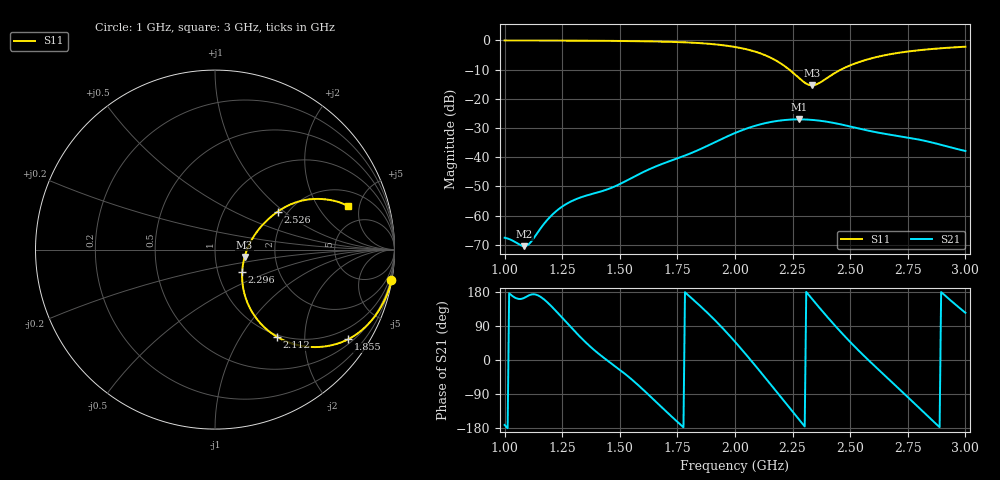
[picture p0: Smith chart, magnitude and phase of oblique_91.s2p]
! TOUCHSTONE file generated by CST MICROWAVE STUDIO
! Date and time: Tue Mar 18 00:01:41 2025
! Project name: oblique.cst
! Parameters = {Tilt=30; Fracture=1; B=12.5; D=160; F=25; Feed=2.85625; L=100; M=10; R=0.384908; S=1; Theta=90; length=57.125; wave=114.25}
! Header version: 2024
! Port assignment regex: !\s*Touchstone port\s*([0-9]+)\s*=\s*(CST MWS port|CST DES external port|CST DES block port)\s*(.+)\s* \(\"(.*)\"\)(\s*mode\s*([0-9]+))?.*
! Touchstone port assignment:
! Touchstone port 1 = CST MWS port 1 ("")
! Touchstone port 2 = CST MWS port 2 ("")
# GHz S DB R 50
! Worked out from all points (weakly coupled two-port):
!   305 points, 1 GHz to 3 GHz, reference 50 ohm
!   highest |S21| = -27.05 dB at 2.276 GHz (marker M1); lowest = -70.5 dB at 1.086 GHz (marker M2)
!   lowest |S11| = -15.4 dB at 2.336 GHz (marker M3), VSWR 1.41, Z = 69.4 - j5.93 ohm
!   |S11| at or under -10 dB: 2.235 GHz to 2.46 GHz (224.8 MHz wide, 9.58 % of centre)
!   S12 and S22 are empty: the file has one direction only
!   S11 on the Smith chart (normalised r, x): 1 GHz: 0, -12; 1.855 GHz: 0.63, -3.16; 2.112 GHz: 0.97, -1.46; 2.296 GHz: 1.31, -0.34; 2.526 GHz: 1.78, +0.91; 3 GHz: 3.12, +3.85
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1  -0.02 -9.9  -67.61 -171.4  -200.00 0.0  -200.00 0.0
1.08553  -0.03 -11.1  -70.50 164.1  -200.00 0.0  -200.00 0.0
1.11184  -0.03 -11.5  -69.26 172.1  -200.00 0.0  -200.00 0.0
1.17763  -0.05 -12.5  -62.20 156.6  -200.00 0.0  -200.00 0.0
1.22368  -0.06 -13.3  -58.52 128.8  -200.00 0.0  -200.00 0.0
1.27632  -0.07 -14.2  -55.67 94.0  -200.00 0.0  -200.00 0.0
1.33553  -0.10 -15.4  -53.64 56.4  -200.00 0.0  -200.00 0.0
1.46711  -0.17 -18.3  -50.40 -10.8  -200.00 0.0  -200.00 0.0
1.67105  -0.40 -24.7  -42.71 -118.4  -200.00 0.0  -200.00 0.0
1.85526  -0.97 -34.0  -37.05 139.0  -200.00 0.0  -200.00 0.0
2  -2.25 -44.7  -31.74 48.2  -200.00 0.0  -200.00 0.0
2.11184  -4.50 -54.6  -28.72 -32.4  -200.00 0.0  -200.00 0.0
2.19737  -7.82 -59.3  -27.44 -96.6  -200.00 0.0  -200.00 0.0
2.27632  -12.79 -48.6  -27.05 -155.9  -200.00 0.0  -200.00 0.0
2.29605  -14.10 -39.9  -27.07 -170.6  -200.00 0.0  -200.00 0.0
2.33553  -15.40 -14.1  -27.24 160.3  -200.00 0.0  -200.00 0.0
2.36184  -14.78 2.9  -27.45 141.2  -200.00 0.0  -200.00 0.0
2.42763  -11.44 24.8  -28.26 95.1  -200.00 0.0  -200.00 0.0
2.52632  -7.76 31.2  -29.98 31.2  -200.00 0.0  -200.00 0.0
2.67105  -4.77 28.7  -32.28 -52.7  -200.00 0.0  -200.00 0.0
2.81579  -3.23 23.8  -34.27 -136.2  -200.00 0.0  -200.00 0.0
3  -2.17 18.1  -37.89 124.6  -200.00 0.0  -200.00 0.0
